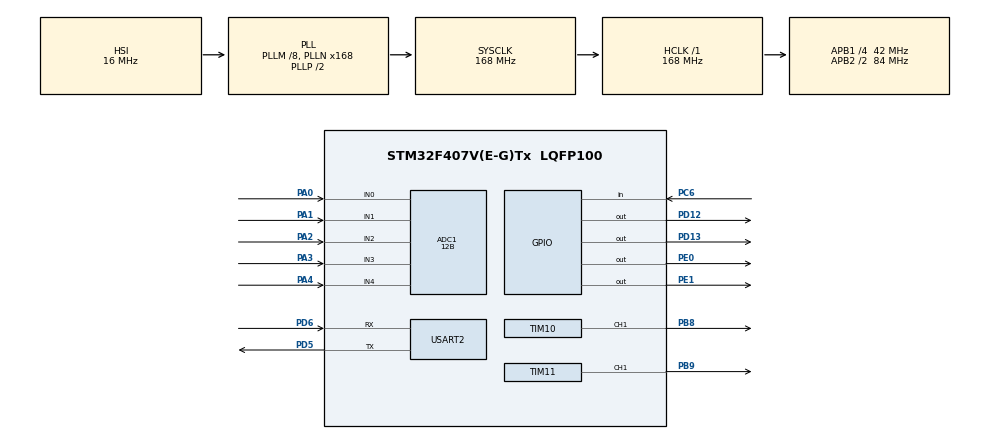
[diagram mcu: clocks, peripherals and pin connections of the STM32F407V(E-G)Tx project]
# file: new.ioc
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ADC1.Channel-0\#ChannelRegularConversion=ADC_CHANNEL_0
ADC1.Channel-1\#ChannelRegularConversion=ADC_CHANNEL_1
ADC1.Channel-2\#ChannelRegularConversion=ADC_CHANNEL_2
ADC1.Channel-3\#ChannelRegularConversion=ADC_CHANNEL_3
ADC1.Channel-4\#ChannelRegularConversion=ADC_CHANNEL_4
ADC1.ClockPrescaler=ADC_CLOCK_SYNC_PCLK_DIV4
ADC1.ContinuousConvMode=ENABLE
ADC1.DMAContinuousRequests=ENABLE
ADC1.DataAlign=ADC_DATAALIGN_RIGHT
ADC1.DiscontinuousConvMode=DISABLE
ADC1.EOCSelection=ADC_EOC_SINGLE_CONV
ADC1.EnableAnalogWatchDog=false
ADC1.ExternalTrigConv=ADC_SOFTWARE_START
ADC1.ExternalTrigConvEdge=ADC_EXTERNALTRIGCONVEDGE_NONE
ADC1.InjNumberOfConversion=0
ADC1.NbrOfConversion=5
ADC1.NbrOfConversionFlag=1
ADC1.Rank-0\#ChannelRegularConversion=1
ADC1.Rank-1\#ChannelRegularConversion=2
ADC1.Rank-2\#ChannelRegularConversion=3
ADC1.Rank-3\#ChannelRegularConversion=4
ADC1.Rank-4\#ChannelRegularConversion=5
ADC1.Resolution=ADC_RESOLUTION_12B
ADC1.SamplingTime-0\#ChannelRegularConversion=ADC_SAMPLETIME_3CYCLES
ADC1.SamplingTime-1\#ChannelRegularConversion=ADC_SAMPLETIME_3CYCLES
ADC1.SamplingTime-2\#ChannelRegularConversion=ADC_SAMPLETIME_3CYCLES
ADC1.SamplingTime-3\#ChannelRegularConversion=ADC_SAMPLETIME_3CYCLES
ADC1.SamplingTime-4\#ChannelRegularConversion=ADC_SAMPLETIME_3CYCLES
ADC1.ScanConvMode=ENABLE
ADC1.master=1
Dma.ADC1.0.Direction=DMA_PERIPH_TO_MEMORY
Dma.ADC1.0.FIFOMode=DMA_FIFOMODE_DISABLE
Dma.ADC1.0.Instance=DMA2_Stream0
Dma.ADC1.0.MemDataAlignment=DMA_MDATAALIGN_HALFWORD
Dma.ADC1.0.MemInc=DMA_MINC_ENABLE
Dma.ADC1.0.Mode=DMA_CIRCULAR
Dma.ADC1.0.PeriphDataAlignment=DMA_PDATAALIGN_HALFWORD
Dma.ADC1.0.PeriphInc=DMA_PINC_DISABLE
Dma.ADC1.0.Priority=DMA_PRIORITY_LOW
Dma.Request0=ADC1
Mcu.Family=STM32F4
Mcu.Name=STM32F407V(E-G)Tx
Mcu.Package=LQFP100
NVIC.DMA2_Stream0_IRQn=true\:0\:0\:false\:false\:true
NVIC.PriorityGroup=NVIC_PRIORITYGROUP_4
NVIC.TIM1_UP_TIM10_IRQn=true\:0\:0\:false\:false\:true
NVIC.TIM7_IRQn=true\:0\:0\:false\:false\:true
NVIC.USART2_IRQn=true\:0\:0\:false\:false\:true
PA0-WKUP.Signal=ADCx_IN0
PA1.Signal=ADCx_IN1
PA2.Signal=ADCx_IN2
PA3.Signal=ADCx_IN3
PA4.Signal=ADCx_IN4
PB8.Signal=S_TIM10_CH1
PB9.Signal=S_TIM11_CH1
PC6.Signal=GPIO_Input
PD12.Signal=GPIO_Output
PD13.Signal=GPIO_Output
PD5.Mode=Asynchronous
PD5.Signal=USART2_TX
PD6.Mode=Asynchronous
PD6.Signal=USART2_RX
PE0.Signal=GPIO_Output
PE1.Signal=GPIO_Output
PH0-OSC_IN.Mode=HSE-External-Oscillator
PH0-OSC_IN.Signal=RCC_OSC_IN
PH1-OSC_OUT.Mode=HSE-External-Oscillator
PH1-OSC_OUT.Signal=RCC_OSC_OUT
ProjectManager.HeapSize=0x200
ProjectManager.StackSize=0x400
ProjectManager.TargetToolchain=MDK-ARM V5
RCC.48MHZClocksFreq_Value=84000000
RCC.AHBFreq_Value=168000000
RCC.APB1CLKDivider=RCC_HCLK_DIV4
RCC.APB1Freq_Value=42000000
RCC.APB1TimFreq_Value=84000000
RCC.APB2CLKDivider=RCC_HCLK_DIV2
RCC.APB2Freq_Value=84000000
RCC.APB2TimFreq_Value=168000000
RCC.CortexFreq_Value=168000000
RCC.HCLKFreq_Value=168000000
RCC.HSE_VALUE=8000000
RCC.HSI_VALUE=16000000
RCC.LSE_VALUE=32768
RCC.PLLM=8
RCC.PLLN=168
RCC.SYSCLKFreq_VALUE=168000000
RCC.SYSCLKSource=RCC_SYSCLKSOURCE_PLLCLK
RCC.VCOOutputFreq_Value=336000000
SH.ADCx_IN0.0=ADC1_IN0,IN0
SH.ADCx_IN1.0=ADC1_IN1,IN1
SH.ADCx_IN2.0=ADC1_IN2,IN2
SH.ADCx_IN3.0=ADC1_IN3,IN3
SH.ADCx_IN4.0=ADC1_IN4,IN4
SH.S_TIM10_CH1.0=TIM10_CH1,PWM Generation1 CH1
SH.S_TIM11_CH1.0=TIM11_CH1,PWM Generation1 CH1
TIM10.Channel=TIM_CHANNEL_1
TIM10.OCFastMode_PWM=TIM_OCFAST_ENABLE
TIM10.OCMode_PWM=TIM_OCMODE_PWM1
TIM10.Period=1200
TIM10.Prescaler=2800
TIM10.Pulse=90
TIM11.Channel=TIM_CHANNEL_1
TIM11.Period=300
TIM11.Prescaler=5600
TIM11.Pulse=150
TIM7.Period=2100
TIM7.Prescaler=40000
TIM7.TIM_MasterOutputTrigger=TIM_TRGO_UPDATE
USART2.VirtualMode=VM_ASYNC
VP_TIM10_VS_ClockSourceINT.Mode=Enable_Timer
VP_TIM11_VS_ClockSourceINT.Mode=Enable_Timer
VP_TIM7_VS_ClockSourceINT.Mode=Enable_Timer
board=new

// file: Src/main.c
/**
  ******************************************************************************
  * File Name          : main.c
  * Description        : Main program body
  ******************************************************************************
  ** This notice applies to any and all portions of this file
  * that are not between comment pairs USER CODE BEGIN and
  * USER CODE END. Other portions of this file, whether
  * inserted by the user or by software development tools
  * are owned by their respective copyright owners.
  *
  * COPYRIGHT(c) 2017 STMicroelectronics
  *
  * Redistribution and use in source and binary forms, with or without modification,
  * are permitted provided that the following conditions are met:
  *   1. Redistributions of source code must retain the above copyright notice,
  *      this list of conditions and the following disclaimer.
  *   2. Redistributions in binary form must reproduce the above copyright notice,
  *      this list of conditions and the following disclaimer in the documentation
  *      and/or other materials provided with the distribution.
  *   3. Neither the name of STMicroelectronics nor the names of its contributors
  *      may be used to endorse or promote products derived from this software
  *      without specific prior written permission.
  *
  * THIS SOFTWARE IS PROVIDED BY THE COPYRIGHT HOLDERS AND CONTRIBUTORS "AS IS"
  * AND ANY EXPRESS OR IMPLIED WARRANTIES, INCLUDING, BUT NOT LIMITED TO, THE
  * IMPLIED WARRANTIES OF MERCHANTABILITY AND FITNESS FOR A PARTICULAR PURPOSE ARE
  * DISCLAIMED. IN NO EVENT SHALL THE COPYRIGHT HOLDER OR CONTRIBUTORS BE LIABLE
  * FOR ANY DIRECT, INDIRECT, INCIDENTAL, SPECIAL, EXEMPLARY, OR CONSEQUENTIAL
  * DAMAGES (INCLUDING, BUT NOT LIMITED TO, PROCUREMENT OF SUBSTITUTE GOODS OR
  * SERVICES; LOSS OF USE, DATA, OR PROFITS; OR BUSINESS INTERRUPTION) HOWEVER
  * CAUSED AND ON ANY THEORY OF LIABILITY, WHETHER IN CONTRACT, STRICT LIABILITY,
  * OR TORT (INCLUDING NEGLIGENCE OR OTHERWISE) ARISING IN ANY WAY OUT OF THE USE
  * OF THIS SOFTWARE, EVEN IF ADVISED OF THE POSSIBILITY OF SUCH DAMAGE.
  *
  ******************************************************************************
  */

#include "main.h"
#include "stm32f4xx_hal.h"

/* USER CODE BEGIN Includes */
//#include <math.h>
#include "arm_math.h"
/* USER CODE END Includes */

ADC_HandleTypeDef hadc1;
DMA_HandleTypeDef hdma_adc1;

TIM_HandleTypeDef htim7;
TIM_HandleTypeDef htim10;
TIM_HandleTypeDef htim11;

UART_HandleTypeDef huart2;

/* USER CODE BEGIN PV */
/* Private variables ---------------------------------------------------------*/

/* USER CODE END PV */

void SystemClock_Config(void);
static void MX_GPIO_Init(void);
static void MX_DMA_Init(void);
static void MX_ADC1_Init(void);
static void MX_TIM10_Init(void);
static void MX_TIM7_Init(void);
static void MX_TIM11_Init(void);
static void MX_USART2_UART_Init(void);

void HAL_TIM_MspPostInit(TIM_HandleTypeDef *htim);

/* USER CODE BEGIN PFP */
/* Private function prototypes -----------------------------------------------*/
int  check(NN* neurons1, uint8_t* data);
int teach(NN *nero, uint8_t * mass);
void copy_n_to_flash(NN* nero);
void copy_flash_to_n(NN* nero);
void set_speed(int  speed);
void convert(uint16_t *mass1, uint8_t* mass2);

#define PID_PARAM_KP 1
#define PID_PARAM_KI 10
#define PID_PARAM_KD 0

//TM_PWM_TIM_t TIM_Data;

/* USER CODE END PFP */

/* USER CODE BEGIN 0 */
HAL_StatusTypeDef	flash_ok = HAL_ERROR;

uint8_t Recv[2];
uint8_t Send[8];
uint16_t angle1;
uint16_t sharp[5];
uint16_t speed = 0, angle =0;
NN neurons[7];

arm_pid_instance_f32 PID;
uint8_t sharp_set[5];

/* USER CODE END 0 */

int main(void)
{

  /* USER CODE BEGIN 1 */

	PID.Kp = PID_PARAM_KP;
PID.Ki = PID_PARAM_KI;
PID.Kd = PID_PARAM_KD;
	arm_pid_init_f32(&PID, 1);
	//arm_pid_init_f32(&PID, 1);

  /* USER CODE END 1 */

  /* MCU Configuration----------------------------------------------------------*/

  /* Reset of all peripherals, Initializes the Flash interface and the Systick. */
  HAL_Init();

  /* Configure the system clock */
  SystemClock_Config();

  /* Initialize all configured peripherals */
  MX_GPIO_Init();
  MX_DMA_Init();
  MX_ADC1_Init();
  MX_TIM10_Init();
  MX_TIM7_Init();
  MX_TIM11_Init();
  MX_USART2_UART_Init();

		copy_flash_to_n(neurons);

  /* USER CODE BEGIN 2 */
//	HAL_TIM_Base_Start(&htim3);
	HAL_TIM_Base_Start(&htim7);
	HAL_TIM_Base_Start(&htim10);
	HAL_TIM_Base_Start(&htim11);
	//HAL_TIM_Base_Start_IT(&htim3);
	HAL_TIM_Base_Start_IT(&htim7);
	HAL_TIM_Base_Start_IT(&htim10);
	HAL_TIM_Base_Start_IT(&htim11);
	HAL_TIM_PWM_Start(&htim10, TIM_CHANNEL_1);
	HAL_TIM_PWM_Start(&htim11, TIM_CHANNEL_1);
	HAL_ADC_Start_DMA(&hadc1,(uint32_t*)&sharp, 5);

/* USER CODE END 2 */

  /* Infinite loop */
  /* USER CODE BEGIN WHILE */

//	HAL_UART_Transmit_IT(&huart2, Buffer, 8);
  //HAL_UART_Receive_IT(&huart2, Buffer, 8);
		//for(uint32_t i = 0 ; i < 0xFFFFF; i++);
	while(1)
  {

HAL_UART_Transmit_IT(&huart2, &sharp_set[1], 1);
		HAL_Delay(1000);
		//convert(sharp, sharp_set);
	//for(int i = 0; i < 5; i++)
	//sharp_set[i] = sharp[i]/16 ;

		/*
		HAL_UART_Receive_IT(&huart2, Recv, 2);
	HAL_Delay(1000);

		if(Recv[0] == '.')
		{

	 //HAL_UART_Transmit_IT(&huart2, &Recv[1], 1);

		teach(&neurons[Recv[1]-48], sharp_set);

			Recv[0] = 0;
			Recv[1] = 0;
			HAL_GPIO_WritePin(GPIOD, GPIO_PIN_12, 1);
			HAL_Delay(1000);

			HAL_UART_Transmit_IT(&huart2, sharp_set, 5);
		}

		if(Recv[0] == 'S')
		{
				HAL_GPIO_WritePin(GPIOD, GPIO_PIN_12, 1);
		copy_n_to_flash(neurons);
				HAL_GPIO_WritePin(GPIOD, GPIO_PIN_12, 1);
			HAL_UART_Transmit_IT(&huart2, (uint8_t*)"Done!", 5);
		}
		Recv[0] = 0;
			Recv[1] = 0;
//		uint8_t sharp_set[5];

	//		for(int i = 0; i < 5; i++)
//		sharp_set[i] = sharp[i]/16 ;
	//	convert(sharp, sharp_set);
		//	HAL_UART_Transmit_IT(&huart2,(uint8_t*)&sharp_set[3] , 1);
		//HAL_Delay(1000);
	//HAL_UART_Receive_IT(&huart2, Recv, 8);
	//for(uint32_t i =0; i < 0xFFFFFF; i++);
  //HAL_UART_Transmit_IT(&huart2, Recv, 8);
	//for(uint32_t i =0; i < 0xFFFFFF; i++);
	*/
  /* USER CODE END WHILE */

  }

}

/** System Clock Configuration
*/
void SystemClock_Config(void)
{

  RCC_OscInitTypeDef RCC_OscInitStruct;
  RCC_ClkInitTypeDef RCC_ClkInitStruct;

    /**Configure the main internal regulator output voltage
    */
  __HAL_RCC_PWR_CLK_ENABLE();

  __HAL_PWR_VOLTAGESCALING_CONFIG(PWR_REGULATOR_VOLTAGE_SCALE1);

    /**Initializes the CPU, AHB and APB busses clocks
    */
  RCC_OscInitStruct.OscillatorType = RCC_OSCILLATORTYPE_HSI;
  RCC_OscInitStruct.HSIState = RCC_HSI_ON;
  RCC_OscInitStruct.HSICalibrationValue = 16;
  RCC_OscInitStruct.PLL.PLLState = RCC_PLL_ON;
  RCC_OscInitStruct.PLL.PLLSource = RCC_PLLSOURCE_HSI;
  RCC_OscInitStruct.PLL.PLLM = 8;
  RCC_OscInitStruct.PLL.PLLN = 168;
  RCC_OscInitStruct.PLL.PLLP = RCC_PLLP_DIV2;
  RCC_OscInitStruct.PLL.PLLQ = 4;
  if (HAL_RCC_OscConfig(&RCC_OscInitStruct) != HAL_OK)
  {
    _Error_Handler(__FILE__, __LINE__);
  }

    /**Initializes the CPU, AHB and APB busses clocks
    */
  RCC_ClkInitStruct.ClockType = RCC_CLOCKTYPE_HCLK|RCC_CLOCKTYPE_SYSCLK
                              |RCC_CLOCKTYPE_PCLK1|RCC_CLOCKTYPE_PCLK2;
  RCC_ClkInitStruct.SYSCLKSource = RCC_SYSCLKSOURCE_PLLCLK;
  RCC_ClkInitStruct.AHBCLKDivider = RCC_SYSCLK_DIV1;
  RCC_ClkInitStruct.APB1CLKDivider = RCC_HCLK_DIV4;
  RCC_ClkInitStruct.APB2CLKDivider = RCC_HCLK_DIV2;

  if (HAL_RCC_ClockConfig(&RCC_ClkInitStruct, FLASH_LATENCY_5) != HAL_OK)
  {
    _Error_Handler(__FILE__, __LINE__);
  }

    /**Configure the Systick interrupt time
    */
  HAL_SYSTICK_Config(HAL_RCC_GetHCLKFreq()/1000);

    /**Configure the Systick
    */
  HAL_SYSTICK_CLKSourceConfig(SYSTICK_CLKSOURCE_HCLK);

  /* SysTick_IRQn interrupt configuration */
  HAL_NVIC_SetPriority(SysTick_IRQn, 0, 0);
}

/* ADC1 init function */
static void MX_ADC1_Init(void)
{

  ADC_ChannelConfTypeDef sConfig;

    /**Configure the global features of the ADC (Clock, Resolution, Data Alignment and number of conversion)
    */
  hadc1.Instance = ADC1;
  hadc1.Init.ClockPrescaler = ADC_CLOCK_SYNC_PCLK_DIV4;
  hadc1.Init.Resolution = ADC_RESOLUTION_12B;
  hadc1.Init.ScanConvMode = ENABLE;
  hadc1.Init.ContinuousConvMode = ENABLE;
  hadc1.Init.DiscontinuousConvMode = DISABLE;
  hadc1.Init.ExternalTrigConvEdge = ADC_EXTERNALTRIGCONVEDGE_NONE;
  hadc1.Init.ExternalTrigConv = ADC_SOFTWARE_START;
  hadc1.Init.DataAlign = ADC_DATAALIGN_RIGHT;
  hadc1.Init.NbrOfConversion = 5;
  hadc1.Init.DMAContinuousRequests = ENABLE;
  hadc1.Init.EOCSelection = ADC_EOC_SINGLE_CONV;
  if (HAL_ADC_Init(&hadc1) != HAL_OK)
  {
    _Error_Handler(__FILE__, __LINE__);
  }

    /**Configure for the selected ADC regular channel its corresponding rank in the sequencer and its sample time.
    */
  sConfig.Channel = ADC_CHANNEL_0;
  sConfig.Rank = 1;
  sConfig.SamplingTime = ADC_SAMPLETIME_3CYCLES;
  if (HAL_ADC_ConfigChannel(&hadc1, &sConfig) != HAL_OK)
  {
    _Error_Handler(__FILE__, __LINE__);
  }

    /**Configure for the selected ADC regular channel its corresponding rank in the sequencer and its sample time.
    */
  sConfig.Channel = ADC_CHANNEL_1;
  sConfig.Rank = 2;
  if (HAL_ADC_ConfigChannel(&hadc1, &sConfig) != HAL_OK)
  {
    _Error_Handler(__FILE__, __LINE__);
  }

    /**Configure for the selected ADC regular channel its corresponding rank in the sequencer and its sample time.
    */
  sConfig.Channel = ADC_CHANNEL_2;
  sConfig.Rank = 3;
  if (HAL_ADC_ConfigChannel(&hadc1, &sConfig) != HAL_OK)
  {
    _Error_Handler(__FILE__, __LINE__);
  }

    /**Configure for the selected ADC regular channel its corresponding rank in the sequencer and its sample time.
    */
  sConfig.Channel = ADC_CHANNEL_3;
  sConfig.Rank = 4;
  if (HAL_ADC_ConfigChannel(&hadc1, &sConfig) != HAL_OK)
  {
    _Error_Handler(__FILE__, __LINE__);
  }

    /**Configure for the selected ADC regular channel its corresponding rank in the sequencer and its sample time.
    */
  sConfig.Channel = ADC_CHANNEL_4;
  sConfig.Rank = 5;
  if (HAL_ADC_ConfigChannel(&hadc1, &sConfig) != HAL_OK)
  {
    _Error_Handler(__FILE__, __LINE__);
  }

}

/* TIM7 init function */
static void MX_TIM7_Init(void)
{

  TIM_MasterConfigTypeDef sMasterConfig;

  htim7.Instance = TIM7;
  htim7.Init.Prescaler = 40000;
  htim7.Init.CounterMode = TIM_COUNTERMODE_UP;
  htim7.Init.Period = 210;
  if (HAL_TIM_Base_Init(&htim7) != HAL_OK)
  {
    _Error_Handler(__FILE__, __LINE__);
  }

  sMasterConfig.MasterOutputTrigger = TIM_TRGO_UPDATE;
  sMasterConfig.MasterSlaveMode = TIM_MASTERSLAVEMODE_DISABLE;
  if (HAL_TIMEx_MasterConfigSynchronization(&htim7, &sMasterConfig) != HAL_OK)
  {
    _Error_Handler(__FILE__, __LINE__);
  }

}

/* TIM10 init function */
static void MX_TIM10_Init(void)
{

  TIM_OC_InitTypeDef sConfigOC;

  htim10.Instance = TIM10;
  htim10.Init.Prescaler = 2800;
  htim10.Init.CounterMode = TIM_COUNTERMODE_UP;
  htim10.Init.Period = 200;
  htim10.Init.ClockDivision = TIM_CLOCKDIVISION_DIV1;
  if (HAL_TIM_Base_Init(&htim10) != HAL_OK)
  {
    _Error_Handler(__FILE__, __LINE__);
  }

  if (HAL_TIM_PWM_Init(&htim10) != HAL_OK)
  {
    _Error_Handler(__FILE__, __LINE__);
  }

  sConfigOC.OCMode = TIM_OCMODE_PWM1;
  sConfigOC.Pulse = 90;
  sConfigOC.OCPolarity = TIM_OCPOLARITY_HIGH;
  sConfigOC.OCFastMode = TIM_OCFAST_ENABLE;
  if (HAL_TIM_PWM_ConfigChannel(&htim10, &sConfigOC, TIM_CHANNEL_1) != HAL_OK)
  {
    _Error_Handler(__FILE__, __LINE__);
  }

  HAL_TIM_MspPostInit(&htim10);

}

/* TIM11 init function */
static void MX_TIM11_Init(void)
{

  TIM_OC_InitTypeDef sConfigOC;

  htim11.Instance = TIM11;
  htim11.Init.Prescaler = 5600;
  htim11.Init.CounterMode = TIM_COUNTERMODE_UP;
  htim11.Init.Period = 300;
  htim11.Init.ClockDivision = TIM_CLOCKDIVISION_DIV1;
  if (HAL_TIM_Base_Init(&htim11) != HAL_OK)
  {
    _Error_Handler(__FILE__, __LINE__);
  }

  if (HAL_TIM_PWM_Init(&htim11) != HAL_OK)
  {
    _Error_Handler(__FILE__, __LINE__);
  }

  sConfigOC.OCMode = TIM_OCMODE_PWM1;
  sConfigOC.Pulse = 150;
  sConfigOC.OCPolarity = TIM_OCPOLARITY_HIGH;
  sConfigOC.OCFastMode = TIM_OCFAST_DISABLE;
  if (HAL_TIM_PWM_ConfigChannel(&htim11, &sConfigOC, TIM_CHANNEL_1) != HAL_OK)
  {
    _Error_Handler(__FILE__, __LINE__);
  }

  HAL_TIM_MspPostInit(&htim11);

}

/* USART2 init function */
static void MX_USART2_UART_Init(void)
{

  huart2.Instance = USART2;
  huart2.Init.BaudRate = 115200;
  huart2.Init.WordLength = UART_WORDLENGTH_8B;
  huart2.Init.StopBits = UART_STOPBITS_1;
  huart2.Init.Parity = UART_PARITY_NONE;
  huart2.Init.Mode = UART_MODE_TX_RX;
  huart2.Init.HwFlowCtl = UART_HWCONTROL_NONE;
  huart2.Init.OverSampling = UART_OVERSAMPLING_16;
  if (HAL_UART_Init(&huart2) != HAL_OK)
  {
    _Error_Handler(__FILE__, __LINE__);
  }

}

static void MX_DMA_Init(void)
{
  /* DMA controller clock enable */
  __HAL_RCC_DMA2_CLK_ENABLE();

  /* DMA interrupt init */
  /* DMA2_Stream0_IRQn interrupt configuration */
  HAL_NVIC_SetPriority(DMA2_Stream0_IRQn, 0, 0);
  HAL_NVIC_EnableIRQ(DMA2_Stream0_IRQn);

}

/** Configure pins as
        * Analog
        * Input
        * Output
        * EVENT_OUT
        * EXTI
*/
static void MX_GPIO_Init(void)
{

  GPIO_InitTypeDef GPIO_InitStruct;

  /* GPIO Ports Clock Enable */
  __HAL_RCC_GPIOH_CLK_ENABLE();
  __HAL_RCC_GPIOA_CLK_ENABLE();
  __HAL_RCC_GPIOD_CLK_ENABLE();
  __HAL_RCC_GPIOC_CLK_ENABLE();
  __HAL_RCC_GPIOB_CLK_ENABLE();
  __HAL_RCC_GPIOE_CLK_ENABLE();

  /*Configure GPIO pin Output Level */
  HAL_GPIO_WritePin(GPIOD, GPIO_PIN_12|GPIO_PIN_13, GPIO_PIN_RESET);

  /*Configure GPIO pin Output Level */
  HAL_GPIO_WritePin(GPIOE, GPIO_PIN_0|GPIO_PIN_1, GPIO_PIN_RESET);

  /*Configure GPIO pins : PD12 PD13 */
  GPIO_InitStruct.Pin = GPIO_PIN_12|GPIO_PIN_13;
  GPIO_InitStruct.Mode = GPIO_MODE_OUTPUT_PP;
  GPIO_InitStruct.Pull = GPIO_NOPULL;
  GPIO_InitStruct.Speed = GPIO_SPEED_FREQ_LOW;
  HAL_GPIO_Init(GPIOD, &GPIO_InitStruct);

  /*Configure GPIO pin : PC6 */
  GPIO_InitStruct.Pin = GPIO_PIN_6;
  GPIO_InitStruct.Mode = GPIO_MODE_INPUT;
  GPIO_InitStruct.Pull = GPIO_NOPULL;
  HAL_GPIO_Init(GPIOC, &GPIO_InitStruct);

  /*Configure GPIO pins : PE0 PE1 */
  GPIO_InitStruct.Pin = GPIO_PIN_0|GPIO_PIN_1;
  GPIO_InitStruct.Mode = GPIO_MODE_OUTPUT_PP;
  GPIO_InitStruct.Pull = GPIO_NOPULL;
  GPIO_InitStruct.Speed = GPIO_SPEED_FREQ_LOW;
  HAL_GPIO_Init(GPIOE, &GPIO_InitStruct);

}

/* USER CODE BEGIN 4 */

int teach(NN *neuron, uint8_t * data) {
	//
	//static int neuronus = 0;
	   for (int i = 0; i < 5; i++){
		for(int k = 0; k < data[i]+1;k++){
			neuron->mass[i][k]++;
			neuron->weight++;
		}
		for(int l =  data[i]+1; l < 10; l++)
		neuron->mass[i][l]--;

	   }

}

int  check(NN* neurons1, uint8_t* data) {
	float percents[7] = {0};
	float percent = 0;
	float weight = 0;
	for (int i = 0; i < 7; i++) {  //

	      for (int j = 0; j < 5; j++){  //???????? ?? ????
	           for(int k = 0; k < data[j]+1; k++ )
	               percent += neurons1[i].mass[j][k];

	           for(int l = 0; l < 10; l++)
	               if(neurons1[i].mass[j][l] > 0) weight+=neurons1[i].mass[j][l];
               // printf("%f" ,weight);
	           percents[i]+= percent/weight;
	      }
	       percents[i] = percents[i] / 5;

	       percent = 0;
	        weight = 0;
	}

	int neuron = 0;
	for (int k = 0; k < 7; k++)
		if (percents[k] > percents[neuron]) neuron = k;

	return neurons1[neuron].alpha;

}

void copy_n_to_flash(NN* nero)
{
	uint32_t adres = 0x080E0000;

		while(flash_ok != HAL_OK){
		flash_ok = HAL_FLASH_Unlock();
	}

	FLASH_Erase_Sector(FLASH_SECTOR_11, VOLTAGE_RANGE_3);

	flash_ok = HAL_ERROR;
	while(flash_ok != HAL_OK){
		flash_ok = HAL_FLASH_Lock();
	}

		flash_ok = HAL_ERROR;
			while(flash_ok != HAL_OK){
		flash_ok = HAL_FLASH_Unlock();
	}

		for(int i = 0; i < 7; i++)
	{
		for(int j = 0; j < 5; j++) {
		for(int k = 0; k < 9; k++)	{
		flash_ok = HAL_ERROR;
	while(flash_ok != HAL_OK){
		flash_ok = HAL_FLASH_Program(TYPEPROGRAM_WORD, adres++,nero[i].mass[j][k]);
		}
	}
}
}
	flash_ok = HAL_ERROR;
	while(flash_ok != HAL_OK){
		flash_ok = HAL_FLASH_Lock();

	}

}

void set_speed(int speed)
{
	if(speed > 0)
	{
		HAL_GPIO_WritePin(GPIOE, GPIO_PIN_0, 0);
			HAL_GPIO_WritePin(GPIOE, GPIO_PIN_1, 1);
	}
	else if( speed < 0)
	{

		HAL_GPIO_WritePin(GPIOE, GPIO_PIN_0, 1);
			HAL_GPIO_WritePin(GPIOE, GPIO_PIN_1, 0);

	}
	else
	{

		HAL_GPIO_WritePin(GPIOE, GPIO_PIN_0, 0);
			HAL_GPIO_WritePin(GPIOE, GPIO_PIN_1, 0);
	}
			if( speed > 0)
	__HAL_TIM_SET_COMPARE(&htim11, TIM_CHANNEL_1, speed);
			else
	__HAL_TIM_SET_COMPARE(&htim11, TIM_CHANNEL_1, -1*speed);
}

uint32_t flash_read(uint32_t address) {
return (*(__IO uint32_t*) address);

}

void copy_flash_to_n(NN* nero)
	{
		 uint32_t adres = 0x080E0000;

			for(int i = 0; i < 7; i++)
	{
		for(int j = 0; j < 5; j++)
		for(int k = 0; k < 10; k++)
			{
		nero[i].mass[j][k] = flash_read(adres);
			adres++;
			}

	}
}

void convert(uint16_t *mass1, uint8_t* mass2)
{

 if( ((3.3/4096)*mass1[1]) > 1.6) mass2[1] = 1; //right
		else if((3.3/4096)*mass1[1] > 1.1) mass2[1] = 2;
					else if((3.3/4096)*mass1[1] > 0.85) mass2[1] =3;
						else if((3.3/4096)*mass1[1] > 0.65) mass2[1] =4;
							else if((3.3/4096)*mass1[1] > 0.56) mass2[1] =5;
										else if((3.3/4096)*mass1[1] > 0.48) mass2[1] =6;
											else if((3.3/4096)*mass1[1] > 0.42) mass2[1] =7;
												else mass2[1] = 8;

	if( ((3.3/4096)*mass1[3]) > 1.6) mass2[3] = 1; // left
		else if((3.3/4096)*mass1[3] > 1.1) mass2[3] = 2;
					else if((3.3/4096)*mass1[3] > 0.85) mass2[3] =3;
						else if((3.3/4096)*mass1[3] > 0.65) mass2[3] =4;
							else if((3.3/4096)*mass1[3] > 0.56) mass2[3] =5;
										else if((3.3/4096)*mass1[3] > 0.48) mass2[3] =6;
											else if((3.3/4096)*mass1[3] > 0.42) mass2[3] =7;
												else mass2[3] = 8;

	if( ((3.3/4096)*mass1[4]) > 1.6) mass2[4] = 1; //center
		else if((3.3/4096)*mass1[4] > 1.1) mass2[4] = 2;
					else if((3.3/4096)*mass1[4] > 0.85) mass2[4] =3;
						else if((3.3/4096)*mass1[4] > 0.65) mass2[4] =4;
							else if((3.3/4096)*mass1[4] > 0.56) mass2[4] =5;
										else if((3.3/4096)*mass1[4] > 0.48) mass2[4] =6;
											else if((3.3/4096)*mass1[4] > 0.42) mass2[4] =7;
												else mass2[4] = 8;

}
/* USER CODE END 4 */

void _Error_Handler(char * file, int line)
{
  while(1)
  {
  }
}

/************************ (C) COPYRIGHT STMicroelectronics *****END OF FILE****/
